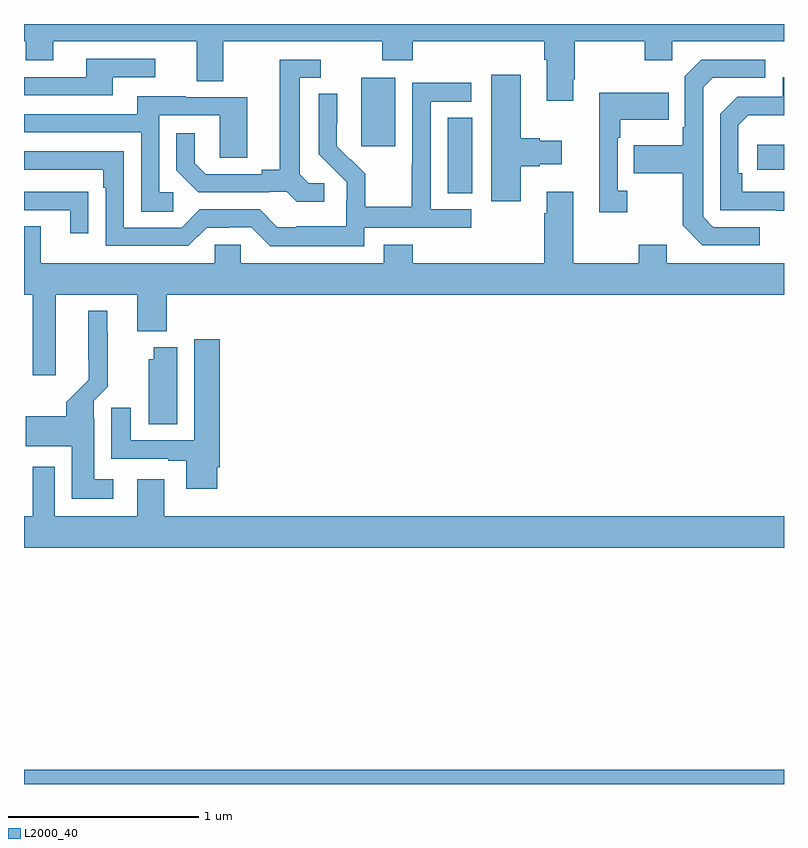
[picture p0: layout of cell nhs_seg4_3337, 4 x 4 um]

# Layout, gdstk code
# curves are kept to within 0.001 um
import gdstk
lib = gdstk.Library(unit=1e-6, precision=1e-09)
def R(c, l, rs):  # rectangles x0, y0, x1, y1
    for r in rs: c.add(gdstk.rectangle(r[:2], r[2:], *l))
def P(c, l, *ps):  # polygons
    for p in ps: c.add(gdstk.Polygon(p, *l))
L2000_40 = (2000, 40)

nhs_seg4_3337 = lib.new_cell('nhs_seg4_3337')
R(nhs_seg4_3337, L2000_40, [(287,804.9,291,804.976), (289.229,808.009,289.36,808.406), (290.859,808.134,291,808.264), (288.776,808.257,288.955,808.618)])
P(nhs_seg4_3337, L2000_40, [(287,808.808),(287.008,808.808),(287.008,808.709),(287.155,808.709),(287.155,808.808),(287.909,808.808),(287.909,808.6),(288.049,808.6),(288.049,808.808),(288.886,808.808),(288.886,808.709),(289.046,808.709),(289.046,808.808),(289.739,808.808),(289.739,808.712),(289.751,808.712),(289.751,808.497),(289.891,808.497),(289.891,808.609),(289.899,808.609),(289.899,808.808),(290.266,808.808),(290.266,808.709),(290.412,808.709),(290.412,808.808),(291,808.808),(291,808.9),(287,808.9)],
  [(287.467,808.62),(287.692,808.62),(287.692,808.716),(287.327,808.716),(287.327,808.62),(287,808.62),(287,808.524),(287.467,808.524)],
  [(290.872,807.831),(290.628,807.831),(290.574,807.885),(290.574,808.566),(290.625,808.617),(290.902,808.617),(290.902,808.713),(290.565,808.713),(290.478,808.626),(290.478,808.357),(290.466,808.357),(290.466,808.261),(290.209,808.261),(290.209,808.114),(290.466,808.114),(290.466,807.841),(290.571,807.735),(290.872,807.735)],
  [(288.58,808.062),(288.498,808.062),(288.451,808.109),(288.451,808.617),(288.562,808.617),(288.562,808.713),(288.347,808.713),(288.347,808.133),(288.251,808.133),(288.251,808.11),(287.956,808.11),(287.899,808.167),(287.899,808.324),(287.802,808.324),(287.802,808.13),(287.918,808.014),(288.29,808.014),(288.29,808.017),(288.384,808.017),(288.436,807.965),(288.58,807.965)],
  [(289.615,808.151),(289.715,808.151),(289.715,808.163),(289.831,808.163),(289.831,808.285),(289.715,808.285),(289.715,808.298),(289.615,808.298),(289.615,808.633),(289.46,808.633),(289.46,807.966),(289.615,807.966)],
  [(291,808.017),(290.78,808.017),(290.78,808.114),(290.76,808.114),(290.76,808.368),(290.813,808.421),(291,808.421),(291,808.62),(290.994,808.62),(290.994,808.518),(290.754,808.518),(290.664,808.428),(290.664,807.921),(290.959,807.921),(290.959,807.916),(291,807.916)],
  [(288.792,807.828),(289.354,807.828),(289.354,807.924),(289.14,807.924),(289.14,808.491),(289.354,808.491),(289.354,808.59),(289.044,808.59),(289.044,808.16),(289.042,808.16),(289.042,807.937),(288.797,807.937),(288.797,808.111),(288.72,808.188),(288.717,808.185),(288.647,808.256),(288.648,808.532),(288.552,808.532),(288.552,808.214),(288.698,808.066),(288.698,807.969),(288.696,807.969),(288.696,807.835),(288.433,807.835),(288.433,807.831),(288.333,807.831),(288.24,807.924),(287.925,807.924),(287.829,807.828),(287.526,807.828),(287.526,808.23),(287,808.23),(287,808.134),(287.417,808.134),(287.417,808.037),(287.43,808.037),(287.43,807.732),(287.865,807.732),(287.961,807.828),(288.08,807.828),(288.08,807.831),(288.195,807.831),(288.295,807.731),(288.792,807.731)],
  [(290.176,808.022),(290.124,808.022),(290.124,808.301),(290.137,808.301),(290.137,808.397),(290.393,808.397),(290.393,808.537),(290.027,808.537),(290.027,807.909),(290.176,807.909)],
  [(287.785,808.014),(287.712,808.014),(287.712,808.419),(288.03,808.419),(288.03,808.195),(288.175,808.195),(288.175,808.515),(287.851,808.515),(287.851,808.519),(287.597,808.519),(287.597,808.425),(287,808.425),(287,808.329),(287.616,808.329),(287.616,807.913),(287.785,807.913)],
  [(287.167,807.476),(287.597,807.476),(287.597,807.284),(287.75,807.284),(287.75,807.476),(291,807.476),(291,807.64),(290.383,807.64),(290.383,807.739),(290.236,807.739),(290.236,807.64),(289.891,807.64),(289.891,808.018),(289.751,808.018),(289.751,807.905),(289.739,807.905),(289.739,807.64),(289.046,807.64),(289.046,807.739),(288.893,807.739),(288.893,807.64),(288.141,807.64),(288.141,807.738),(288.003,807.738),(288.003,807.64),(287.089,807.64),(287.089,807.835),(287,807.835),(287,807.476),(287.045,807.476),(287.045,807.051),(287.167,807.051)],
  [(287.339,808.016),(287.237,808.016),(287.237,808.017),(287,808.017),(287,807.921),(287.243,807.921),(287.243,807.798),(287.339,807.798)],
  [(287.47,806.503),(287.371,806.503),(287.371,806.822),(287.367,806.822),(287.367,806.916),(287.441,806.99),(287.441,807.281),(287.437,807.281),(287.437,807.391),(287.339,807.391),(287.34,807.028),(287.222,806.91),(287.222,806.836),(287.01,806.836),(287.01,806.678),(287.252,806.678),(287.252,806.402),(287.47,806.402)],
  [(288.016,806.566),(288.029,806.566),(288.029,807.241),(287.897,807.241),(287.897,806.709),(287.563,806.709),(287.563,806.881),(287.459,806.881),(287.459,806.613),(287.759,806.613),(287.759,806.601),(287.855,806.601),(287.855,806.454),(288.016,806.454)],
  [(287.806,807.199),(287.684,807.199),(287.684,807.135),(287.657,807.135),(287.657,806.794),(287.806,806.794)],
  [(291,806.308),(287.737,806.308),(287.737,806.503),(287.597,806.503),(287.597,806.308),(287.163,806.308),(287.163,806.569),(287.047,806.569),(287.047,806.308),(287,806.308),(287,806.144),(291,806.144)])

lib.write_gds('nhs_seg4_3337.gds')
